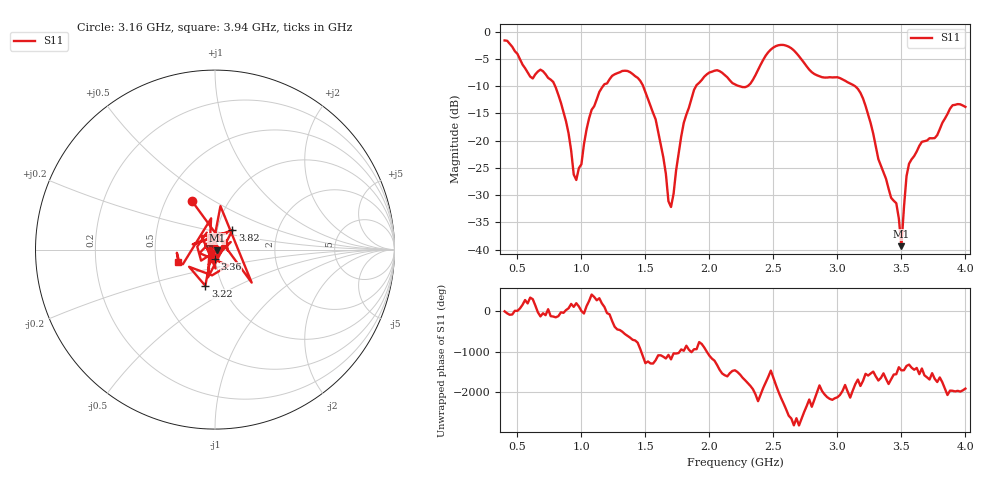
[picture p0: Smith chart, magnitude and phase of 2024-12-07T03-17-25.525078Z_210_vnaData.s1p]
!Created with skrf (http://scikit-rf.org).
# Hz S RI R 50.0
!freq ReS11 ImS11
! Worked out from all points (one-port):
!   181 points, 400 MHz to 4 GHz, reference 50 ohm
!   lowest |S11| = -39.4 dB at 3.5 GHz (marker M1), VSWR 1.02, Z = 51 - j0.369 ohm
!   |S11| at or under -10 dB: 795 MHz to 1.168 GHz (373.5 MHz wide, 38 % of centre); 1.483 GHz to 1.895 GHz (412.6 MHz wide, 24.4 % of centre); 3.138 GHz to end of sweep (the widest 3 of 4)
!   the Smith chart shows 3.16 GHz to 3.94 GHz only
!   S11 on the Smith chart (normalised r, x): 3.16 GHz: 0.68, +0.40; 3.22 GHz: 0.83, -0.35; 3.36 GHz: 0.99, -0.10; 3.82 GHz: 1.18, +0.26; 3.94 GHz: 0.65, -0.10
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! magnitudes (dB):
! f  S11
! 400 MHz  -1.6
! 600 MHz  -8.2
! 780 MHz  -9.2
! 860 MHz  -14.7
! 960 MHz  -27.2
! 1.08 GHz  -14.3
! 1.3 GHz  -7.4
! 1.48 GHz  -9.8
! 1.58 GHz  -16.1
! 1.7 GHz  -32.2
! 1.76 GHz  -22.3
! 1.9 GHz  -9.8
! 2.06 GHz  -7.1
! 2.2 GHz  -9.7
! 2.32 GHz  -9.5
! 2.5 GHz  -2.9
! 2.66 GHz  -3.4
! 3.1 GHz  -9.5
! 3.16 GHz  -10.5
! 3.22 GHz  -13.6
! 3.36 GHz  -25.8
! 3.46 GHz  -31.5
! 3.5 GHz  -39.4
! 3.54 GHz  -26.5
! 3.56 GHz  -24.2
! 3.82 GHz  -16.7
! 3.94 GHz  -13.3
! 4 GHz  -13.8
